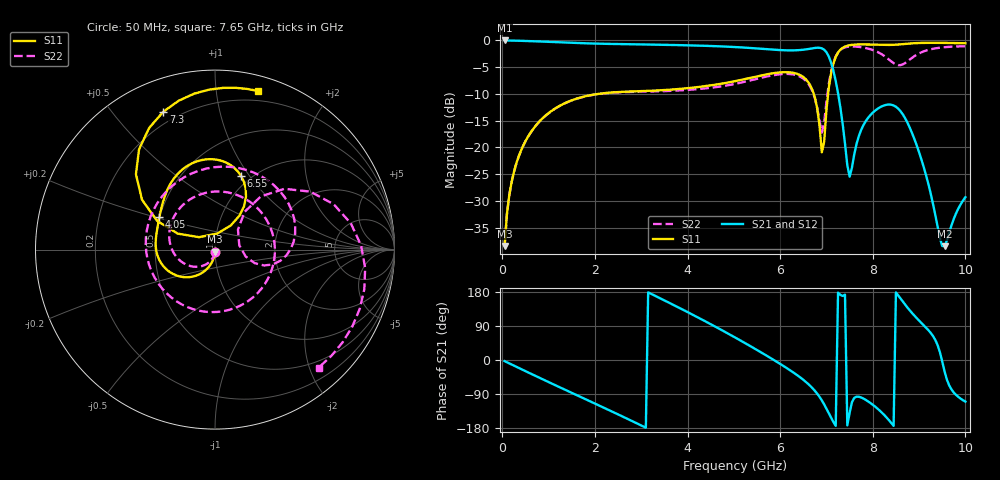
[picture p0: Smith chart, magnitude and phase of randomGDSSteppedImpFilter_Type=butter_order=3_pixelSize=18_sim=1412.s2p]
! freq	dB(S11)	phase(S11)	dB(S12)	phase(S12)
!  dB(S21)	phase(S21)	dB(S22)	phase(S22)
!S-par simulation data
#  GHz  S  DB  R 50
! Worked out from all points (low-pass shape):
!   200 points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, 50 MHz to 10 GHz, reference 50 ohm
!   highest |S21| = -0.01 dB at 50 MHz (marker M1); lowest = -38.4 dB at 9.55 GHz (marker M2)
!   |S21| within 3 dB of the highest: start of sweep to 7.051 GHz
!   lowest |S11| = -38.4 dB at 50 MHz (marker M3), VSWR 1.02, Z = 49.9 - j1.2 ohm
!   |S11| at or under -10 dB: start of sweep to 2.065 GHz; 6.725 GHz to 7.036 GHz (310.6 MHz wide, 4.51 % of centre)
!   |S22| runs from -38.4 to -1.1 dB; largest |S21 - S12| = 0
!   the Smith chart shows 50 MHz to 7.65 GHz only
!   S11 on the Smith chart (normalised r, x): 50 MHz: 1.00, -0.02; 4.05 GHz: 0.50, +0.21; 6.55 GHz: 0.90, +0.91; 7.3 GHz: 0.15, +0.68; 7.65 GHz: 0.12, +1.30
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0.05  -38.40 -91.7  -0.01 -3.0  -0.01 -3.0  -38.42 -93.2
0.2  -26.50 -98.9  -0.03 -11.8  -0.03 -11.8  -26.52 -105.0
0.5  -18.83 -112.2  -0.10 -29.4  -0.10 -29.4  -18.85 -127.5
1.75  -10.52 -160.2  -0.53 -100.8  -0.53 -100.8  -10.55 137.3
2.65  -9.58 175.0  -0.70 -152.2  -0.70 -152.2  -9.65 59.9
3.4  -9.32 160.4  -0.80 163.4  -0.80 163.4  -9.50 -13.8
4.05  -8.88 149.4  -0.93 123.3  -0.93 123.3  -9.21 -82.6
5.05  -7.57 130.5  -1.25 57.9  -1.25 57.9  -8.08 164.4
5.8  -6.19 108.6  -1.69 4.7  -1.69 4.7  -6.58 79.6
6.55  -7.21 70.6  -1.68 -57.3  -1.68 -57.3  -7.49 0.5
6.7  -9.32 59.7  -1.47 -74.5  -1.47 -74.5  -9.55 -14.3
6.9  -20.89 82.0  -1.48 -106.6  -1.48 -106.6  -17.24 10.1
7.1  -6.16 145.7  -4.14 -152.4  -4.14 -152.4  -5.79 41.3
7.3  -1.72 110.6  -12.50 171.8  -12.50 171.8  -1.78 1.6
7.5  -0.89 87.1  -25.44 -139.7  -25.44 -139.7  -1.14 -29.3
7.65  -0.77 74.7  -19.32 -96.7  -19.32 -96.7  -1.16 -48.7
8.05  -0.79 51.0  -13.12 -122.8  -13.12 -122.8  -1.96 -102.1
8.35  -0.84 37.7  -11.97 -158.8  -11.97 -158.8  -3.58 -163.5
8.7  -0.65 24.1  -14.55 145.8  -14.55 145.8  -4.22 82.4
9.05  -0.47 9.8  -22.24 97.9  -22.24 97.9  -2.22 4.7
9.55  -0.46 -9.2  -38.43 -29.9  -38.43 -29.9  -1.26 -46.2
10  -0.53 -24.7  -29.29 -109.8  -29.29 -109.8  -1.09 -72.8
